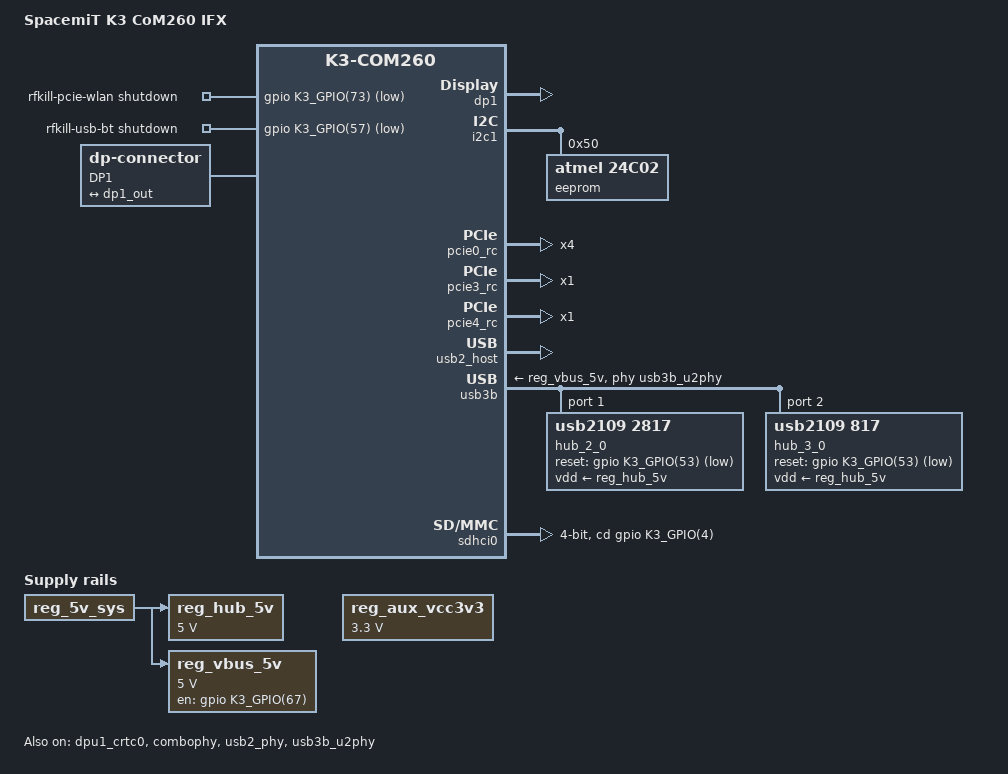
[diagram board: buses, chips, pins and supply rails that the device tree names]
// SPDX-License-Identifier: (GPL-2.0 OR MIT)
/*
 * Copyright (c) 2026 SpacemiT (Hangzhou) Technology Co. Ltd
 * Copyright (c) 2026 Yixun Lan <dlan@kernel.org>
 */
#include <dt-bindings/phy/phy.h>

#include "k3-com260.dtsi"
#include "k3-display.dtsi"

/ {
	model = "SpacemiT K3 CoM260 IFX";
	compatible = "spacemit,k3-com260-ifx", "spacemit,k3-com260", "spacemit,k3";

	aliases {
		serial0 = &uart0;
		ethernet0 = &eth1;
	};

	chosen {
		stdout-path = "serial0:115200n8";
	};

	reg_hub_5v: regulator-usb3-hub-5v {
		compatible = "regulator-fixed";
		regulator-name = "USB30_HUB";
		regulator-min-microvolt = <5000000>;
		regulator-max-microvolt = <5000000>;
		regulator-boot-on;
		regulator-always-on;
		vin-supply = <&reg_5v_sys>;
	};

	reg_vbus_5v: regulator-usb3-vbus-5v {
		compatible = "regulator-fixed";
		regulator-name = "USB30_VBUS";
		regulator-min-microvolt = <5000000>;
		regulator-max-microvolt = <5000000>;
		vin-supply = <&reg_5v_sys>;
		gpio = <&gpio K3_GPIO(67) GPIO_ACTIVE_HIGH>;
		enable-active-high;
	};

	reg_aux_vcc3v3: regulator-aux-vcc3v3 {
		compatible = "regulator-fixed";
		regulator-name = "AUX_VCC3V3";
		regulator-min-microvolt = <3300000>;
		regulator-max-microvolt = <3300000>;
		regulator-always-on;
	};

	rfkill-pcie-wlan {
		compatible = "rfkill-gpio";
		label = "rfkill-pcie-wlan";
		radio-type = "wlan";
		shutdown-gpios = <&gpio K3_GPIO(73) GPIO_ACTIVE_LOW>;
	};

	rfkill-usb-bt {
		compatible = "rfkill-gpio";
		label = "rfkill-usb-bt";
		radio-type = "bluetooth";
		shutdown-gpios = <&gpio K3_GPIO(57) GPIO_ACTIVE_LOW>;
	};

	connector {
		compatible = "dp-connector";
		label = "DP1";
		type = "full-size";

		port {
			dp1_connector_in: endpoint {
				remote-endpoint = <&dp1_out>;
			};
		};
	};
};

&dpu1_crtc0 {
	status = "okay";
};

&dp1 {
	pinctrl-names = "default";
	pinctrl-0 = <&dp1_3_cfg>;
	status = "okay";
};

&dp1_out {
	remote-endpoint = <&dp1_connector_in>;
};

&combophy {
	spacemit,apmu = <&syscon_apmu 0x14>;
	status = "okay";
};

&i2c1 {
	pinctrl-names = "default";
	pinctrl-0 = <&i2c1_1_cfg>;
	status = "okay";

	eeprom@50 {
		compatible = "atmel,24c02";
		pagesize = <8>;
		reg = <0x50>;
		read-only;
		size = <256>;
		status = "okay";
	};
};

&pcie0_rc {
	pinctrl-names = "default";
	pinctrl-0 = <&pcie0_1_cfg>;
	num-lanes = <4>;
	status = "okay";

	pcie@0 {
		vpcie3v3-supply = <&reg_aux_vcc3v3>;
		phys = <&combophy 0 PHY_TYPE_PCIE>,
		       <&combophy 1 PHY_TYPE_PCIE>;
	};
};

&pcie3_rc {
	pinctrl-names = "default";
	pinctrl-0 = <&pcie3_0_cfg>;
	num-lanes = <1>;
	status = "okay";

	pcie@0 {
		vpcie3v3-supply = <&reg_aux_vcc3v3>;
		phys = <&combophy 4 PHY_TYPE_PCIE>;
	};
};

&pcie4_rc {
	pinctrl-names = "default";
	pinctrl-0 = <&pcie4_1_cfg>;
	num-lanes = <1>;
	status = "okay";

	pcie@0 {
		vpcie3v3-supply = <&reg_aux_vcc3v3>;
		phys = <&combophy 5 PHY_TYPE_PCIE>;
	};
};

&usb2_host {
	status = "okay";
};

&usb2_phy {
	status = "okay";
};

&usb3b {
	phys = <&usb3b_u2phy>, <&combophy 2 PHY_TYPE_USB3>;
	phy-names = "usb2-phy", "usb3-phy";
	status = "okay";
	vbus-supply = <&reg_vbus_5v>;
	#address-cells = <1>;
	#size-cells = <0>;

	hub_2_0: hub@1 {
		compatible = "usb2109,2817";
		reg = <1>;
		vdd-supply = <&reg_hub_5v>;
		peer-hub = <&hub_3_0>;
		reset-gpios = <&gpio K3_GPIO(53) GPIO_ACTIVE_LOW>;
	};

	hub_3_0: hub@2 {
		compatible = "usb2109,817";
		reg = <2>;
		vdd-supply = <&reg_hub_5v>;
		peer-hub = <&hub_2_0>;
		reset-gpios = <&gpio K3_GPIO(53) GPIO_ACTIVE_LOW>;
	};
};

&usb3b_u2phy {
	status = "okay";
};

&sdhci0 {
	pinctrl-names = "default","uhs";
	pinctrl-0 = <&mmc1_cfg>;
	pinctrl-1 = <&mmc1_uhs_cfg>;
	bus-width = <4>;
	cd-gpios = <&gpio K3_GPIO(4) GPIO_ACTIVE_HIGH>;
	no-mmc;
	no-sdio;
	disable-wp;
	cap-sd-highspeed;
	vqmmc-supply = <&aldo1>;
	sd-uhs-sdr25;
	sd-uhs-sdr50;
	sd-uhs-sdr104;
	status = "okay";
};
